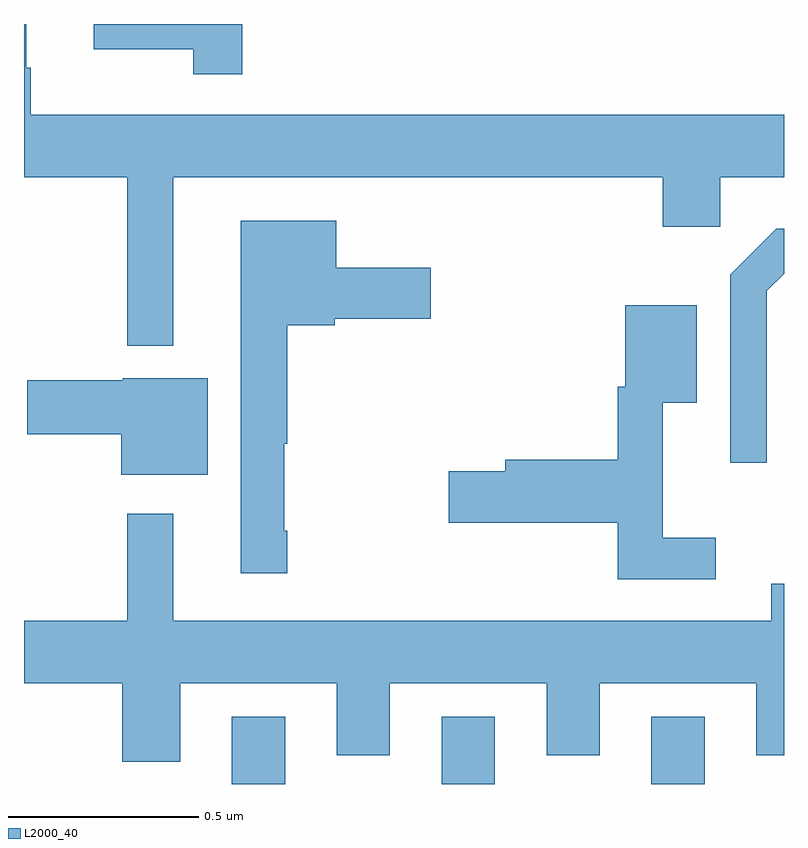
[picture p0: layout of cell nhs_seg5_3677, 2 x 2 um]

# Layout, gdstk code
import gdstk
lib = gdstk.Library(unit=1e-6, precision=1e-09)
def R(c, l, rs):  # rectangles x0, y0, x1, y1
    for r in rs: c.add(gdstk.rectangle(r[:2], r[2:], *l))
def A(c, l, x, y, w, h, nx, ny, dx, dy):  # array of equal rectangles
    R(c, l, [(x+i*dx, y+j*dy, x+i*dx+w, y+j*dy+h) for i in range(nx) for j in range(ny)])
def P(c, l, *ps):  # polygons
    for p in ps: c.add(gdstk.Polygon(p, *l))
L2000_40 = (2000, 40)

nhs_seg5_3677 = lib.new_cell('nhs_seg5_3677')
A(nhs_seg5_3677, L2000_40, 160.547, 885.799, 0.14, 0.177, 3, 1, 0.552, 0)
P(nhs_seg5_3677, L2000_40, [(160.393,887.396),(161.681,887.396),(161.681,887.265),(161.832,887.265),(161.832,887.396),(162,887.396),(162,887.56),(160.018,887.56),(160.018,887.684),(160.006,887.684),(160.006,887.799),(160,887.799),(160,887.396),(160.272,887.396),(160.272,886.952),(160.393,886.952)],
  [(160.574,887.799),(160.184,887.799),(160.184,887.732),(160.446,887.732),(160.446,887.667),(160.574,887.667)],
  [(160.693,886.465),(160.685,886.465),(160.685,886.694),(160.693,886.694),(160.693,887.006),(160.818,887.006),(160.818,887.024),(161.071,887.024),(161.071,887.158),(160.822,887.158),(160.822,887.281),(160.571,887.281),(160.571,886.353),(160.693,886.353)],
  [(161.955,887.097),(162,887.142),(162,887.26),(161.98,887.26),(161.859,887.139),(161.859,886.644),(161.955,886.644)],
  [(161.821,886.447),(161.681,886.447),(161.681,886.802),(161.77,886.802),(161.77,887.059),(161.582,887.059),(161.582,886.845),(161.563,886.845),(161.563,886.652),(161.267,886.652),(161.267,886.622),(161.118,886.622),(161.118,886.487),(161.563,886.487),(161.563,886.338),(161.821,886.338)],
  [(160.483,886.867),(160.26,886.867),(160.26,886.862),(160.008,886.862),(160.008,886.72),(160.256,886.72),(160.256,886.613),(160.483,886.613)],
  [(160.411,886.064),(160.823,886.064),(160.823,885.875),(160.963,885.875),(160.963,886.064),(161.375,886.064),(161.375,885.875),(161.515,885.875),(161.515,886.064),(161.927,886.064),(161.927,885.875),(162,885.875),(162,886.326),(161.966,886.326),(161.966,886.228),(160.393,886.228),(160.393,886.51),(160.272,886.51),(160.272,886.228),(160,886.228),(160,886.064),(160.259,886.064),(160.259,885.858),(160.411,885.858)])

lib.write_gds('nhs_seg5_3677.gds')
